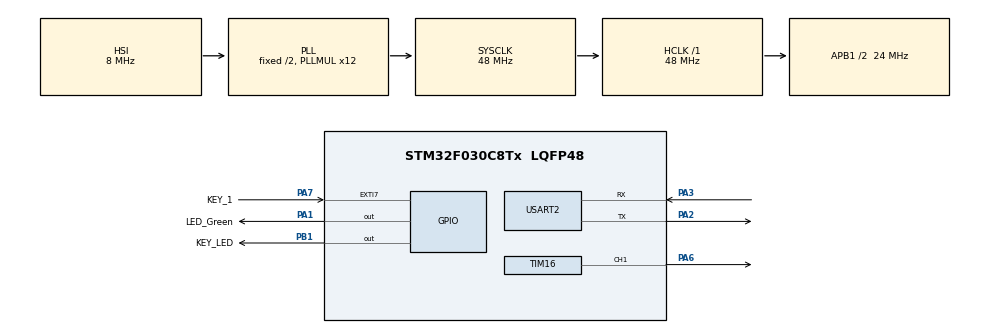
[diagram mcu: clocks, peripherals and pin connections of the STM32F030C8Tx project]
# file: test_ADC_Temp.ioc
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ADC.ClockPrescaler=ADC_CLOCK_SYNC_PCLK_DIV4
ADC.ContinuousConvMode=ENABLE
ADC.DMAContinuousRequests=ENABLE
ADC.DataAlign=ADC_DATAALIGN_RIGHT
ADC.DiscontinuousConvMode=DISABLE
ADC.EOCSelection=ADC_EOC_SINGLE_CONV
ADC.EnableAnalogWatchDog=false
ADC.ExternalTrigConv=ADC_SOFTWARE_START
ADC.ExternalTrigConvEdge=ADC_EXTERNALTRIGCONVEDGE_NONE
ADC.LowPowerAutoPowerOff=DISABLE
ADC.LowPowerAutoWait=DISABLE
ADC.Overrun=ADC_OVR_DATA_PRESERVED
ADC.Resolution=ADC_RESOLUTION_12B
ADC.SamplingTime=ADC_SAMPLETIME_1CYCLE_5
ADC.ScanConvMode=ADC_SCAN_DIRECTION_FORWARD
Dma.Request0=USART2_TX
Dma.Request1=USART2_RX
Dma.USART2_RX.1.Direction=DMA_PERIPH_TO_MEMORY
Dma.USART2_RX.1.Instance=DMA1_Channel5
Dma.USART2_RX.1.MemDataAlignment=DMA_MDATAALIGN_BYTE
Dma.USART2_RX.1.MemInc=DMA_MINC_ENABLE
Dma.USART2_RX.1.Mode=DMA_NORMAL
Dma.USART2_RX.1.PeriphDataAlignment=DMA_PDATAALIGN_BYTE
Dma.USART2_RX.1.PeriphInc=DMA_PINC_DISABLE
Dma.USART2_RX.1.Priority=DMA_PRIORITY_LOW
Dma.USART2_TX.0.Direction=DMA_MEMORY_TO_PERIPH
Dma.USART2_TX.0.Instance=DMA1_Channel4
Dma.USART2_TX.0.MemDataAlignment=DMA_MDATAALIGN_BYTE
Dma.USART2_TX.0.MemInc=DMA_MINC_ENABLE
Dma.USART2_TX.0.Mode=DMA_NORMAL
Dma.USART2_TX.0.PeriphDataAlignment=DMA_PDATAALIGN_BYTE
Dma.USART2_TX.0.PeriphInc=DMA_PINC_DISABLE
Dma.USART2_TX.0.Priority=DMA_PRIORITY_LOW
Mcu.Family=STM32F0
Mcu.Name=STM32F030C8Tx
Mcu.Package=LQFP48
NVIC.DMA1_Channel4_5_IRQn=true\:0\:0\:false\:false\:true\:false
NVIC.EXTI4_15_IRQn=true\:0\:0\:false\:false\:true\:true
NVIC.USART2_IRQn=true\:0\:0\:false\:false\:true\:true
PA1.GPIO_Label=LED_Green
PA1.Signal=GPIO_Output
PA13.Mode=Serial_Wire
PA13.Signal=SYS_SWDIO
PA14.Mode=Serial_Wire
PA14.Signal=SYS_SWCLK
PA2.Mode=Asynchronous
PA2.Signal=USART2_TX
PA3.Mode=Asynchronous
PA3.Signal=USART2_RX
PA6.Signal=S_TIM16_CH1
PA7.GPIO_Label=KEY_1
PA7.GPIO_ModeDefaultEXTI=GPIO_MODE_IT_FALLING
PA7.GPIO_PuPd=GPIO_PULLUP
PA7.Signal=GPXTI7
PB1.GPIO_Label=KEY_LED
PB1.Signal=GPIO_Output
ProjectManager.HeapSize=0x200
ProjectManager.StackSize=0x400
ProjectManager.TargetToolchain=EWARM
RCC.AHBFreq_Value=48000000
RCC.APB1CLKDivider=RCC_HCLK_DIV2
RCC.APB1Freq_Value=24000000
RCC.APB1TimFreq_Value=48000000
RCC.HCLKFreq_Value=48000000
RCC.PLLMUL=RCC_PLL_MUL12
RCC.SYSCLKFreq_VALUE=48000000
RCC.SYSCLKSource=RCC_SYSCLKSOURCE_PLLCLK
RTC.Alarm-Alarm\ A=RTC_ALARM_A
RTC.Date=16
RTC.Hours=15
RTC.Minutes=10
RTC.Month=RTC_MONTH_NOVEMBER
RTC.WeekDay=RTC_WEEKDAY_FRIDAY
RTC.Year=18
SH.S_TIM16_CH1.0=TIM16_CH1,Output Compare1 CH1
TIM16.Channel=TIM_CHANNEL_1
USART2.VirtualMode-Asynchronous=VM_ASYNC
VP_ADC_TempSens_Input.Mode=IN-TempSens
VP_RTC_VS_RTC_Activate.Mode=RTC_Enabled
VP_RTC_VS_RTC_Alarm_A_Intern.Mode=Alarm A
VP_RTC_VS_RTC_Calendar.Mode=RTC_Calendar
VP_TIM16_VS_ClockSourceINT.Mode=Enable_Timer
VP_TIM17_VS_ClockSourceINT.Mode=Enable_Timer
board=custom

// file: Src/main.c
/**
  ******************************************************************************
  * @file           : main.c
  * @brief          : Main program body
  ******************************************************************************
  ** This notice applies to any and all portions of this file
  * that are not between comment pairs USER CODE BEGIN and
  * USER CODE END. Other portions of this file, whether
  * inserted by the user or by software development tools
  * are owned by their respective copyright owners.
  *
  * COPYRIGHT(c) 2018 STMicroelectronics
  *
  * Redistribution and use in source and binary forms, with or without modification,
  * are permitted provided that the following conditions are met:
  *   1. Redistributions of source code must retain the above copyright notice,
  *      this list of conditions and the following disclaimer.
  *   2. Redistributions in binary form must reproduce the above copyright notice,
  *      this list of conditions and the following disclaimer in the documentation
  *      and/or other materials provided with the distribution.
  *   3. Neither the name of STMicroelectronics nor the names of its contributors
  *      may be used to endorse or promote products derived from this software
  *      without specific prior written permission.
  *
  * THIS SOFTWARE IS PROVIDED BY THE COPYRIGHT HOLDERS AND CONTRIBUTORS "AS IS"
  * AND ANY EXPRESS OR IMPLIED WARRANTIES, INCLUDING, BUT NOT LIMITED TO, THE
  * IMPLIED WARRANTIES OF MERCHANTABILITY AND FITNESS FOR A PARTICULAR PURPOSE ARE
  * DISCLAIMED. IN NO EVENT SHALL THE COPYRIGHT HOLDER OR CONTRIBUTORS BE LIABLE
  * FOR ANY DIRECT, INDIRECT, INCIDENTAL, SPECIAL, EXEMPLARY, OR CONSEQUENTIAL
  * DAMAGES (INCLUDING, BUT NOT LIMITED TO, PROCUREMENT OF SUBSTITUTE GOODS OR
  * SERVICES; LOSS OF USE, DATA, OR PROFITS; OR BUSINESS INTERRUPTION) HOWEVER
  * CAUSED AND ON ANY THEORY OF LIABILITY, WHETHER IN CONTRACT, STRICT LIABILITY,
  * OR TORT (INCLUDING NEGLIGENCE OR OTHERWISE) ARISING IN ANY WAY OUT OF THE USE
  * OF THIS SOFTWARE, EVEN IF ADVISED OF THE POSSIBILITY OF SUCH DAMAGE.
  *
  ******************************************************************************
  */
#include "main.h"
#include "stm32f0xx_hal.h"
#include "adc.h"
#include "dma.h"
#include "rtc.h"
#include "tim.h"
#include "usart.h"
#include "gpio.h"

/* USER CODE BEGIN PV */
/* Private variables ---------------------------------------------------------*/

/* USER CODE END PV */

void SystemClock_Config(void);

/* USER CODE BEGIN PFP */
/* Private function prototypes -----------------------------------------------*/
void ADC_GET_TempFunc(void);
/* USER CODE END PFP */

int main(void)
{

  /* MCU Configuration----------------------------------------------------------*/

  /* Reset of all peripherals, Initializes the Flash interface and the Systick. */
  HAL_Init();

  /* Configure the system clock */
  SystemClock_Config();

  /* Initialize all configured peripherals */
  MX_GPIO_Init();
  MX_DMA_Init();
  MX_ADC_Init();
  MX_USART2_UART_Init();
  MX_RTC_Init();
  MX_TIM16_Init();
  MX_TIM17_Init();
  /* USER CODE BEGIN 2 */
  printf("this is initialization...");

  HAL_UART_Receive_IT(&huart2,(uint8_t *)Rx_buf,1);

  RTC_DateTypeDef sdatestructure;
  RTC_TimeTypeDef stimestructure;
  LED_Green_ON;
  /* USER CODE END 2 */

  /* Infinite loop */
  /* USER CODE BEGIN WHILE */
  while (1)
  {
	ADC_GET_TempFunc();

	printf("this is while running....\r\n");
	HAL_Delay(1000);

  /* USER CODE END WHILE */

  /* USER CODE BEGIN 3 */

  /* Get the RTC current Time ,must get time first*/
	HAL_RTC_GetTime(&hrtc, &stimestructure, RTC_FORMAT_BIN);
	/* Get the RTC current Date */
	HAL_RTC_GetDate(&hrtc, &sdatestructure, RTC_FORMAT_BIN);

	/* Display date Format : yy/mm/dd */
	printf("%02d/%02d/%02d\r\n",2000 + sdatestructure.Year, sdatestructure.Month, sdatestructure.Date);
	/* Display time Format : hh:mm:ss */
	printf("%02d:%02d:%02d\r\n",stimestructure.Hours, stimestructure.Minutes, stimestructure.Seconds);

  }
  /* USER CODE END 3 */

}

void SystemClock_Config(void)
{

  RCC_OscInitTypeDef RCC_OscInitStruct;
  RCC_ClkInitTypeDef RCC_ClkInitStruct;
  RCC_PeriphCLKInitTypeDef PeriphClkInit;

    /**Initializes the CPU, AHB and APB busses clocks
    */
  RCC_OscInitStruct.OscillatorType = RCC_OSCILLATORTYPE_HSI|RCC_OSCILLATORTYPE_LSI;
  RCC_OscInitStruct.HSIState = RCC_HSI_ON;
  RCC_OscInitStruct.HSICalibrationValue = 16;
  RCC_OscInitStruct.LSIState = RCC_LSI_ON;
  RCC_OscInitStruct.PLL.PLLState = RCC_PLL_ON;
  RCC_OscInitStruct.PLL.PLLSource = RCC_PLLSOURCE_HSI;
  RCC_OscInitStruct.PLL.PLLMUL = RCC_PLL_MUL12;
  RCC_OscInitStruct.PLL.PREDIV = RCC_PREDIV_DIV1;
  if (HAL_RCC_OscConfig(&RCC_OscInitStruct) != HAL_OK)
  {
    _Error_Handler(__FILE__, __LINE__);
  }

    /**Initializes the CPU, AHB and APB busses clocks
    */
  RCC_ClkInitStruct.ClockType = RCC_CLOCKTYPE_HCLK|RCC_CLOCKTYPE_SYSCLK
                              |RCC_CLOCKTYPE_PCLK1;
  RCC_ClkInitStruct.SYSCLKSource = RCC_SYSCLKSOURCE_PLLCLK;
  RCC_ClkInitStruct.AHBCLKDivider = RCC_SYSCLK_DIV1;
  RCC_ClkInitStruct.APB1CLKDivider = RCC_HCLK_DIV2;

  if (HAL_RCC_ClockConfig(&RCC_ClkInitStruct, FLASH_LATENCY_1) != HAL_OK)
  {
    _Error_Handler(__FILE__, __LINE__);
  }

  PeriphClkInit.PeriphClockSelection = RCC_PERIPHCLK_RTC;
  PeriphClkInit.RTCClockSelection = RCC_RTCCLKSOURCE_LSI;
  if (HAL_RCCEx_PeriphCLKConfig(&PeriphClkInit) != HAL_OK)
  {
    _Error_Handler(__FILE__, __LINE__);
  }

    /**Configure the Systick interrupt time
    */
  HAL_SYSTICK_Config(HAL_RCC_GetHCLKFreq()/1000);

    /**Configure the Systick
    */
  HAL_SYSTICK_CLKSourceConfig(SYSTICK_CLKSOURCE_HCLK);

  /* SysTick_IRQn interrupt configuration */
  HAL_NVIC_SetPriority(SysTick_IRQn, 0, 0);
}

/* USER CODE BEGIN 4 */
void ADC_GET_TempFunc(void)
{
  uint32_t ad_value = 0;

  /*##-1- Start the conversion process #######################################*/
  HAL_ADC_Start(&hadc);
  /*##-2- Wait for the end of conversion #####################################*/
   /*  Before starting a new conversion, you need to check the current state of
			  the peripheral; if it��s busy you need to wait for the end of current
			  conversion before starting a new one.
			  For simplicity reasons, this example is just waiting till the end of the
			  conversion, but application may perform other tasks while conversion
			  operation is ongoing. */
  HAL_ADC_PollForConversion(&hadc, 100);
  /* Check if the continous conversion of regular channel is finished */
  if(HAL_IS_BIT_SET(HAL_ADC_GetState(&hadc), HAL_ADC_STATE_REG_EOC))
  {
	  /*##-3- Get the converted value of regular channel  ######################*/
	  ad_value = HAL_ADC_GetValue(&hadc);
	  printf("MCU Temperature : %.1f�� \r\n",((1430 - ad_value*3300/4096)/4.3+25));
  }
}
/* USER CODE END 4 */

void _Error_Handler(char *file, int line)
{
  while(1)
  {
  }
}

/************************ (C) COPYRIGHT STMicroelectronics *****END OF FILE****/
